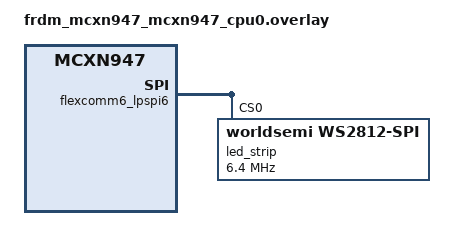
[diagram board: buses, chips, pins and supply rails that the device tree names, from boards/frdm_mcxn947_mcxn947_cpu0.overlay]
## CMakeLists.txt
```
cmake_minimum_required(VERSION 3.22.0)

find_package(Zephyr REQUIRED HINTS $ENV{ZEPHYR_BASE})

project(lightRemote)

FILE(GLOB app_sources src/*.c)
target_sources(app PRIVATE ${app_sources})
```

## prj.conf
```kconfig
CONFIG_ENTROPY_GENERATOR=y
CONFIG_GPIO=y
CONFIG_LED_STRIP=y
CONFIG_LOG=y
CONFIG_SPI=y
```

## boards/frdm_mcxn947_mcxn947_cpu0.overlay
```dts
// See build/zephyr/zephyr.dts for the full compiled device tree.

#include <zephyr/dt-bindings/led/led.h>

/ {
    aliases {
        green-led = &green_led;
        led-strip = &led_strip;
        red-led = &red_led;
    };
};

&flexcomm6_lpspi6 {
    status = "okay";

    led_strip: ws2812@0 {
        status = "okay";
        compatible = "worldsemi,ws2812-spi";
        reg = <0>;
        spi-max-frequency = <6400000>;

        chain-length = <9>;
        spi-one-frame = <0xF0>;
        spi-zero-frame = <0xC0>;
        color-mapping = <LED_COLOR_ID_GREEN
                         LED_COLOR_ID_RED
                         LED_COLOR_ID_BLUE
                         LED_COLOR_ID_WHITE>;
    };
};
```

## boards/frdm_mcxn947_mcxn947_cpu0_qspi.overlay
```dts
#include <zephyr/dt-bindings/led/led.h>

/ {
    aliases {
        my-red-led = &red_led;
        my-green-led = &green_led;
        led-strip = &led_strip;
    };
};

&flexcomm1_lpspi1 {
    status = "okay";

    led_strip: ws2812@0 {
        status = "okay";
        compatible = "worldsemi,ws2812-spi";

        /* SPI */
        reg = <0>; /* ignored, but necessary for SPI bindings */
        spi-max-frequency = <6400000>;

        /* WS2812 */
        chain-length = <16>; /* Number of LEDs on the strip */
        spi-one-frame = <0xF0>;
        spi-zero-frame = <0xC0>;
        color-mapping = <LED_COLOR_ID_GREEN LED_COLOR_ID_RED LED_COLOR_ID_BLUE>;
    };
};
```

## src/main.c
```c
#include <stdio.h>
#include <string.h>

#include <zephyr/device.h>
#include <zephyr/drivers/gpio.h>
#include <zephyr/drivers/led_strip.h>
#include <zephyr/drivers/spi.h>
#include <zephyr/kernel.h>
#include <zephyr/sys/util.h>

#define LOG_LEVEL 4
#include <zephyr/logging/log.h>
LOG_MODULE_REGISTER(main);

#include "algorithm.h"
#include "params.h"

static const struct gpio_dt_spec red_led = GPIO_DT_SPEC_GET(DT_ALIAS(red_led), gpios);
static const struct gpio_dt_spec green_led = GPIO_DT_SPEC_GET(DT_ALIAS(green_led), gpios);

#define STRIP_NODE DT_ALIAS(led_strip)

#if DT_NODE_HAS_PROP(DT_ALIAS(led_strip), chain_length)
#define STRIP_NUM_PIXELS DT_PROP(DT_ALIAS(led_strip), chain_length)
#else
#error Unable to determine length of LED strip
#endif

#define DELAY_TIME K_MSEC(CONFIG_SAMPLE_LED_UPDATE_DELAY)

static struct led_rgb pixels[STRIP_NUM_PIXELS];

static const struct device* const strip = DEVICE_DT_GET(STRIP_NODE);

Config TheConfig = {
    .delta = 1.0 / 2000.0,
    .scalingRoot = 2.0,
    .restoringForce = 0.1,
    .mass = 5.0,
    .friction = 1 - 0.015,
};

Params TheParams = {
    .hue = 0.0,
    .sat = 1.0,
    .val = 1.0,
    .dh = 0.25,
    .ds = 0.1,
    .dv = 0.1,
    .temp = 0.05,
};

Algorithm TheAlgorithm;

float fract(float x)
{
    return x - (int)x;
}

float mix(float a, float b, float t)
{
    return a + (b - a) * t;
}

float step(float e, float x)
{
    return x < e ? 0.0 : 1.0;
}

float constrain(float x, float a, float b)
{
    if (x < a) {
        return a;
    } else if (x > b) {
        return b;
    } else {
        return x;
    }
}

float absf(float x)
{
    if (x < 0.0f) {
        return -x;
    } else {
        return x;
    }
}

int main(void)
{
    int ret;

    if (!gpio_is_ready_dt(&red_led) || !gpio_is_ready_dt(&green_led)) {
        return 0;
    }

    ret = gpio_pin_configure_dt(&red_led, GPIO_OUTPUT);
    if (ret) {
        return 0;
    }

    ret = gpio_pin_configure_dt(&green_led, GPIO_OUTPUT);
    if (ret) {
        return 0;
    }

    ret = gpio_pin_set_dt(&green_led, 0);
    if (ret) {
        return 0;
    }

    if (!device_is_ready(strip)) {
        return 0;
    }

    algorithm_init(&TheAlgorithm, &TheConfig, &TheParams);

    while (1) {
        gpio_pin_toggle_dt(&red_led);

        algorithm_update(&TheAlgorithm);

        for (size_t i = 0; i < ARRAY_SIZE(pixels); i++) {
            float red = TheAlgorithm.val[i] * mix(1.0f, constrain(absf(fract(TheAlgorithm.hue[i] + 1.0f) * 6.0f - 3.0f) - 1.0f, 0.0f, 1.0f), TheAlgorithm.sat[i]);
            float grn = TheAlgorithm.val[i] * mix(1.0f, constrain(absf(fract(TheAlgorithm.hue[i] + 0.6666666f) * 6.0f - 3.0f) - 1.0f, 0.0f, 1.0f), TheAlgorithm.sat[i]);
            float blu = TheAlgorithm.val[i] * mix(1.0f, constrain(absf(fract(TheAlgorithm.hue[i] + 0.3333333f) * 6.0f - 3.0f) - 1.0f, 0.0f, 1.0f), TheAlgorithm.sat[i]);

            // When I scale all the way to 256, the pixels glitch out. Voltage drop? SPI timing?
            pixels[i].r = red * 200;
            pixels[i].g = grn * 200;
            pixels[i].b = blu * 200;
        }

        led_strip_update_rgb(strip, pixels, STRIP_NUM_PIXELS);
    }

    return 0;
}
```

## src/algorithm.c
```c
#include "algorithm.h"

#include <stdint.h>
#include <zephyr/random/random.h>

#include "params.h"

void algorithm_init(Algorithm* algorithm, Config* config, Params* params)
{
    algorithm->config = config;
    algorithm->params = params;

    for (size_t i = 0; i < NUM_PIXELS; i++) {
        algorithm->force[i] = 1.0;
        algorithm->hueVel[i] = 0.0;
        algorithm->linearSatVel[i] = 0.0;
        algorithm->linearValVel[i] = 0.0;
        algorithm->linearSat[i] = 0.0;
        algorithm->linearVal[i] = 0.0;
        algorithm->hue[i] = sys_rand32_get() / (float)UINT32_MAX;
        algorithm->sat[i] = 0.0;
        algorithm->val[i] = 0.0;
    }
}

void algorithm_update_inner(Algorithm* algorithm, float* position, float* velocity, float target, float tolerance, int wraps)
{
    // Sometimes the fastest way to get to the target is to decrement
    // the hue, and wrap around from 0 -> 1. The "inverse target" is
    // the opposite point on the hue circle. By adding or subtracting
    // 1, we make the comparisons below simpler. Because we wrap the
    // values at the end of this function, the offset here doesn't
    // effect the final value.
    if (wraps) {
        float inverse_target = target + 0.5f;
        if (target > 1.0f) {
            target -= 1.0f;
        }

        if (inverse_target > target) {
            for (size_t i = 0; i < NUM_PIXELS; i++) {
                if (position[i] > inverse_target) {
                    position[i] -= 1.0f;
                }
            }
        } else {
            for (size_t i = 0; i < NUM_PIXELS; i++) {
                if (position[i] < inverse_target) {
                    position[i] += 1.0f;
                }
            }
        }
    }

    // Calculate random forces on the pixel due to temperature
    for (size_t i = 0; i < NUM_PIXELS; i++) {
        algorithm->force[i] = sys_rand32_get() / (float)UINT32_MAX;

        algorithm->force[i] -= algorithm->params->temp;

        if (algorithm->force[i] > 0.0f) {
            algorithm->force[i] = 0.0;
        } else {
            algorithm->force[i] += algorithm->params->temp / 2.0f;
        }

        if (algorithm->force[i] < 0.0f) {
            algorithm->force[i] = -1.0;
        } else if (algorithm->force[i] > 0.0f) {
            algorithm->force[i] = 1.0;
        }

        algorithm->force[i] *= algorithm->config->delta;
    }

    // Apply restoring forces
    float restoring_delta = algorithm->config->delta * algorithm->config->restoringForce;
    if (wraps || target == 0.0f) {
        for (size_t i = 0; i < NUM_PIXELS; i++) {
            if (position[i] > target + tolerance) {
                algorithm->force[i] -= restoring_delta;
            }
        }
    }

    for (size_t i = 0; i < NUM_PIXELS; i++) {
        if (position[i] < target - tolerance) {
            algorithm->force[i] += restoring_delta;
        }
    }

    // Acceleration = Force / Mass
    for (size_t i = 0; i < NUM_PIXELS; i++) {
        algorithm->force[i] /= algorithm->config->mass;
    }

    // Velocity += Acceleration
    for (size_t i = 0; i < NUM_PIXELS; i++) {
        velocity[i] += algorithm->force[i];
    }

    // Position += Velocity
    for (size_t i = 0; i < NUM_PIXELS; i++) {
        position[i] += velocity[i];
    }

    // Velocity *= friction
    for (size_t i = 0; i < NUM_PIXELS; i++) {
        velocity[i] *= algorithm->config->friction;
    }

    if (wraps) {
        for (size_t i = 0; i < NUM_PIXELS; i++) {
            if (position[i] < 0.0f) {
                position[i] += 1.0f;
            } else if (position[i] > 1.0f) {
                position[i] -= 1.0f;
            }
        }
    } else {
        for (size_t i = 0; i < NUM_PIXELS; i++) {
            if (position[i] < 0.0f) {
                position[i] = 0.0f;
            } else if (position[i] > 1.0f) {
                position[i] = 1.0f;
            }
        }
    }
}

void algorithm_update(Algorithm* algorithm)
{
    algorithm_update_inner(algorithm, algorithm->hue, algorithm->hueVel, algorithm->params->hue, algorithm->params->dh, 1);
    algorithm_update_inner(algorithm, algorithm->linearSat, algorithm->linearSatVel, algorithm->params->sat, algorithm->params->ds, 0);
    algorithm_update_inner(algorithm, algorithm->linearVal, algorithm->linearValVel, algorithm->params->val, algorithm->params->dv, 0);

    // This is where we raise it to the power of 1 / 1.2, to bend it above y=x
    // But that's expensive, so I just wont do it.
    for (size_t i = 0; i < NUM_PIXELS; i++) {
        algorithm->sat[i] = algorithm->linearSat[i];
        algorithm->val[i] = algorithm->linearVal[i];
    }
}
```

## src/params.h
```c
#pragma once

#include <zephyr/device.h>

#if DT_NODE_HAS_PROP(DT_ALIAS(led_strip), chain_length)
#define STRIP_NUM_PIXELS DT_PROP(DT_ALIAS(led_strip), chain_length)
#else
#error Unable to determine length of LED strip
#endif

#define NUM_PIXELS STRIP_NUM_PIXELS

typedef struct {
    float hue;
    float sat;
    float val;
    float dh;
    float ds;
    float dv;
    float temp;
} Params;

typedef struct {
    float delta;
    float scalingRoot;
    float restoringForce;
    float mass;
    float friction;
} Config;
```
